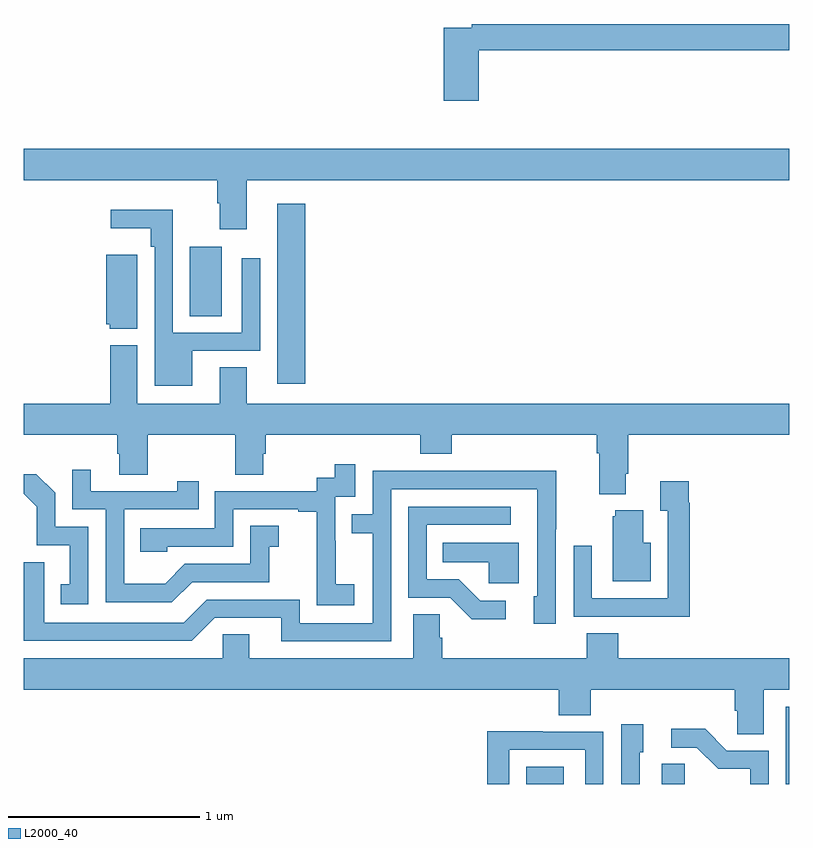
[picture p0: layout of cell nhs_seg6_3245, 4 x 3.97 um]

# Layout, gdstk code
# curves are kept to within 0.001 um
import gdstk
lib = gdstk.Library(unit=1e-6, precision=1e-09)
def R(c, l, rs):  # rectangles x0, y0, x1, y1
    for r in rs: c.add(gdstk.rectangle(r[:2], r[2:], *l))
def P(c, l, *ps):  # polygons
    for p in ps: c.add(gdstk.Polygon(p, *l))
L2000_40 = (2000, 40)

nhs_seg6_3245 = lib.new_cell('nhs_seg6_3245')
R(nhs_seg6_3245, L2000_40, [(303.626,957.5,303.823,957.589), (304.334,957.5,304.455,957.605), (304.983,957.5,305,957.903), (302.324,959.592,302.471,960.532), (301.868,959.944,302.035,960.307)])
P(nhs_seg6_3245, L2000_40, [(303.377,961.336),(305,961.336),(305,961.472),(303.34,961.472),(303.34,961.452),(303.194,961.452),(303.194,961.071),(303.377,961.071)],
  [(302.164,960.656),(305,960.656),(305,960.82),(301,960.82),(301,960.656),(302.012,960.656),(302.012,960.536),(302.024,960.536),(302.024,960.399),(302.164,960.399)],
  [(301.879,959.763),(302.235,959.763),(302.235,960.247),(302.139,960.247),(302.139,959.859),(301.779,959.859),(301.779,960.502),(301.455,960.502),(301.455,960.404),(301.663,960.404),(301.663,960.308),(301.683,960.308),(301.683,959.582),(301.879,959.582)],
  [(301.594,960.265),(301.43,960.265),(301.43,959.904),(301.449,959.904),(301.449,959.879),(301.594,959.879)],
  [(304.147,959.122),(304.16,959.122),(304.16,959.324),(305,959.324),(305,959.488),(302.164,959.488),(302.164,959.678),(302.024,959.678),(302.024,959.488),(301.594,959.488),(301.594,959.794),(301.451,959.794),(301.451,959.488),(301,959.488),(301,959.324),(301.487,959.324),(301.487,959.226),(301.499,959.226),(301.499,959.116),(301.647,959.116),(301.647,959.324),(302.104,959.324),(302.104,959.116),(302.251,959.116),(302.251,959.226),(302.264,959.226),(302.264,959.324),(303.071,959.324),(303.071,959.225),(303.236,959.225),(303.236,959.324),(303.995,959.324),(303.995,959.228),(304.007,959.228),(304.007,959.015),(304.147,959.015)],
  [(302.728,958.543),(302.63,958.543),(302.63,958.772),(302.628,958.772),(302.628,959.001),(302.733,959.001),(302.733,959.17),(302.625,959.17),(302.625,959.1),(302.532,959.1),(302.532,959.031),(301.998,959.031),(301.998,958.836),(301.609,958.836),(301.609,958.713),(301.749,958.713),(301.749,958.74),(302.094,958.74),(302.094,958.935),(302.435,958.935),(302.435,958.923),(302.531,958.923),(302.531,958.639),(302.53,958.639),(302.53,958.433),(302.728,958.433)],
  [(301.879,958.554),(302.283,958.554),(302.283,958.739),(302.332,958.739),(302.332,958.849),(302.184,958.849),(302.184,958.65),(301.842,958.65),(301.738,958.546),(301.524,958.546),(301.524,958.935),(301.913,958.935),(301.913,959.083),(301.802,959.083),(301.802,959.031),(301.351,959.031),(301.351,959.143),(301.254,959.143),(301.254,958.935),(301.428,958.935),(301.428,958.449),(301.774,958.449)],
  [(302.919,959.04),(303.683,959.04),(303.684,958.482),(303.665,958.482),(303.665,958.338),(303.78,958.338),(303.78,958.831),(303.783,958.831),(303.783,959.138),(303.319,959.138),(303.319,959.136),(302.823,959.136),(302.823,958.911),(302.713,958.911),(302.713,958.81),(302.823,958.81),(302.823,958.341),(302.442,958.341),(302.442,958.464),(301.956,958.464),(301.836,958.344),(301.107,958.344),(301.107,958.659),(301,958.659),(301,958.248),(301.878,958.248),(301.998,958.368),(302.345,958.368),(302.345,958.245),(302.919,958.245)],
  [(301.338,958.845),(301.164,958.845),(301.164,959.022),(301.066,959.12),(301,959.12),(301,959.018),(301.068,958.95),(301.068,958.749),(301.241,958.749),(301.241,958.545),(301.192,958.545),(301.192,958.44),(301.338,958.44)],
  [(304.481,958.97),(304.474,958.97),(304.474,959.083),(304.325,959.083),(304.325,958.927),(304.365,958.927),(304.365,958.47),(303.969,958.47),(303.969,958.744),(303.873,958.744),(303.873,958.374),(304.189,958.374),(304.189,958.373),(304.481,958.373)],
  [(303.52,958.458),(303.385,958.458),(303.274,958.569),(303.105,958.569),(303.105,958.854),(303.544,958.854),(303.544,958.95),(303.009,958.95),(303.009,958.473),(303.228,958.473),(303.341,958.361),(303.52,958.361)],
  [(304.276,958.762),(304.237,958.762),(304.237,958.93),(304.091,958.93),(304.091,958.899),(304.079,958.899),(304.079,958.559),(304.276,958.559)],
  [(303.586,958.762),(303.19,958.762),(303.19,958.658),(303.429,958.658),(303.429,958.55),(303.586,958.55)],
  [(304.867,957.992),(305,957.992),(305,958.156),(304.106,958.156),(304.106,958.289),(303.941,958.289),(303.941,958.156),(303.188,958.156),(303.188,958.265),(303.174,958.265),(303.174,958.388),(303.035,958.388),(303.035,958.156),(302.179,958.156),(302.179,958.283),(302.04,958.283),(302.04,958.156),(301,958.156),(301,957.992),(303.797,957.992),(303.797,957.859),(303.962,957.859),(303.962,957.992),(304.715,957.992),(304.715,957.883),(304.728,957.883),(304.728,957.76),(304.867,957.76)],
  [(304.218,957.666),(304.237,957.666),(304.237,957.811),(304.122,957.811),(304.122,957.5),(304.218,957.5)],
  [(304.893,957.675),(304.674,957.675),(304.561,957.788),(304.383,957.788),(304.383,957.69),(304.517,957.69),(304.628,957.579),(304.797,957.579),(304.797,957.5),(304.893,957.5)],
  [(303.537,957.678),(303.933,957.678),(303.933,957.5),(304.029,957.5),(304.029,957.774),(303.713,957.774),(303.713,957.776),(303.421,957.776),(303.421,957.5),(303.537,957.5)])

lib.write_gds('nhs_seg6_3245.gds')
